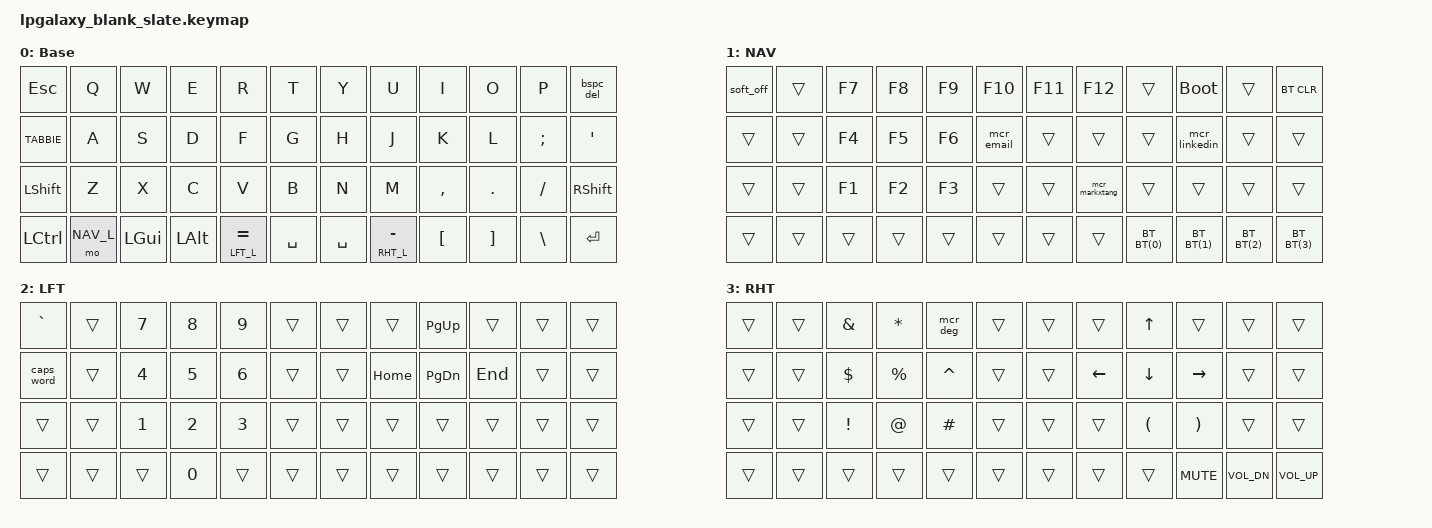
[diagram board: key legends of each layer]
/*
 * Copyright (c) 2022 Pete Johanson
 *
 * SPDX-License-Identifier: MIT
 */

#include <behaviors.dtsi>
#include <dt-bindings/zmk/keys.h>
#include <dt-bindings/zmk/bt.h>
#include <dt-bindings/zmk/outputs.h>

#define NAV_L 1
#define LFT_L 2
#define RHT_L 3

// Using layer taps on thumbs, having quick tap as well helps w/ repeating space/backspace
&lt { quick_tap_ms = <200>; };

// Only turn off it the key is held for 5 seconds or longer.
&soft_off {
    hold-time-ms = <5000>; 
};

#define BT(n) BT_SEL n

/ {
    chosen {
       zmk,physical-layout = &layout_ortho_4x12_all1u;
    };

    macros {
        mcr_deg: mcr_deg {
            compatible = "zmk,behavior-macro";
            #binding-cells = <0>;
            bindings =
                <&macro_press &kp LALT>,
                <&macro_tap &kp KP_N2 &kp KP_N4 &kp KP_N8>,
                <&macro_release &kp LALT>;
        };

        mcr_endash: mcr_endash {
            compatible = "zmk,behavior-macro";
            #binding-cells = <0>;
            bindings =
                <&macro_press &kp LALT>,
                <&macro_tap &kp KP_N0 &kp KP_N1 &kp KP_N5 &kp KP_N0>,
                <&macro_release &kp LALT>;
        };

        mcr_emdash: mcr_emdash {
            compatible = "zmk,behavior-macro";
            #binding-cells = <0>;
            bindings =
                <&macro_press &kp LALT>,
                <&macro_tap &kp KP_N0 &kp KP_N1 &kp KP_N5 &kp KP_N1>,
                <&macro_release &kp LALT>;
        };

        mcr_enspace: mcr_enspace {
            compatible = "zmk,behavior-macro";
            #binding-cells = <0>;
            bindings =
                <&macro_press &kp LALT>,
                <&macro_tap &kp KP_N8 &kp KP_N1 &kp KP_N9 &kp KP_N4>,
                <&macro_release &kp LALT>;
        };

        mcr_emspace: mcr_emspace {
            compatible = "zmk,behavior-macro";
            #binding-cells = <0>;
            bindings =
                <&macro_press &kp LALT>,
                <&macro_tap &kp KP_N8 &kp KP_N1 &kp KP_N9 &kp KP_N5>,
                <&macro_release &kp LALT>;
        };

        hold_cas: hold_cas {
            compatible = "zmk,behavior-macro";
            #binding-cells = <0>;
            bindings = <
                /* On press: hold Ctrl, Alt, Shift */
                &macro_press   &kp LCTRL &kp LALT &kp LSHIFT
                /* On release: release Ctrl, Alt, Shift */
                &macro_release &kp LCTRL &kp LALT &kp LSHIFT
            >;
        };

        win_snip: win_snip {
            compatible    = "zmk,behavior-macro";
            #binding-cells = <0>;
            wait-ms       = <10>;   /* small delay before tapping */
            tap-ms        = <10>;   /* ensure host registers the tap */
            bindings = <
                /* on press: hold Windows + Shift */
                &macro_press   &kp LGUI &kp LSHIFT
                /* tap the “S” key */
                &macro_tap     &kp S
                /* on release: release Windows + Shift */
                &macro_release &kp LGUI &kp LSHIFT
            >;
        };

        ctrl_alt_del: ctrl_alt_del {
            compatible    = "zmk,behavior-macro";
            #binding-cells = <0>;
            wait-ms       = <10>;   /* small delay before tapping */
            tap-ms        = <10>;   /* ensure host registers the tap */
            bindings = <
                /* on press: hold Windows + Shift */
                &macro_press   &kp LCTRL &kp LALT 
                /* tap the “S” key */
                &macro_tap     &kp DEL
                /* on release: release Windows + Shift */
                &macro_release &kp LCTRL &kp LALT
            >;
        };

        mcr_linkedin: mcr_linkedin {
            compatible = "zmk,behavior-macro";
            #binding-cells = <0>;
            bindings =
                <&macro_tap
                    &kp H &kp T &kp T &kp P &kp S &kp COLON &kp FSLH &kp FSLH
                    &kp W &kp W &kp W &kp DOT
                    &kp L &kp I &kp N &kp K &kp E &kp D &kp I &kp N &kp DOT
                    &kp C &kp O &kp M &kp FSLH
                    &kp I &kp N &kp FSLH
                    &kp M &kp A &kp R &kp K &kp X &kp T &kp A &kp N &kp G &kp FSLH
                >;
        };

        mcr_markxtang: mcr_markxtang {
            compatible = "zmk,behavior-macro";
            #binding-cells = <0>;
            bindings =
                <&macro_tap
                    &kp H &kp T &kp T &kp P &kp S &kp COLON &kp FSLH &kp FSLH
                    &kp M &kp A &kp R &kp K &kp X &kp T &kp A &kp N &kp G &kp DOT
                    &kp C &kp O &kp M &kp FSLH
                >;
        };

        mcr_email: mcr_email {
            compatible = "zmk,behavior-macro";
            #binding-cells = <0>;
            bindings =
                <&macro_tap
                    &kp M &kp A &kp R &kp K &kp X &kp T &kp A &kp N &kp G &kp AT
                    &kp G &kp M &kp A &kp I &kp L &kp DOT &kp C &kp O &kp M
                >;
        };

    };

    behaviors {
        bspc_del: backspace_delete {
            compatible = "zmk,behavior-mod-morph";
            #binding-cells = <0>;
            bindings = <&kp BACKSPACE>, <&kp DELETE>;
            mods = <(MOD_LSFT|MOD_RSFT)>;
        };
        
    };
    
    tap_dances {
    	TABBIE: tab_caps_word {
		compatible = "zmk,behavior-tap-dance";
		label = "TD_TABBIE";
		#binding-cells = <0>;
		tapping-term-ms = <250>;
		bindings = <&kp TAB>, <&caps_word>;
	};

    };

    keymap {
        compatible = "zmk,keymap";

        base_layer {
            label = "Base";
            bindings = <
&kp ESC		    &kp Q		    &kp W		    &kp E	    	&kp R	    	&kp T	    	&kp Y		    &kp U		    &kp I		    &kp O		    &kp P		    &bspc_del
&TABBIE	    	&kp A	        &kp S       	&kp D	    	&kp F	    	&kp G	    	&kp H		    &kp J		    &kp K		    &kp L		    &kp SEMI		&kp SQT
&kp LSHFT    	&kp Z		    &kp X	    	&kp C	    	&kp V		    &kp B	    	&kp N		    &kp M		    &kp COMMA	    &kp DOT		    &kp FSLH	    &kp RSHFT
&kp LCTRL   	&mo NAV_L       &kp LGUI    	&kp LALT    	&lt LFT_L EQUAL &kp SPACE       &kp SPACE       &lt RHT_L MINUS &kp LBKT        &kp RBKT   	    &kp BSLH		&kp RET
            >;
        };

        NAV_layer { 
            label = "NAV";
            bindings = <
&soft_off     	&trans        	&kp F7        	&kp F8        	&kp F9        	&kp F10       	&kp F11       	&kp F12       	&trans        	&bootloader   	&trans        	&bt BT_CLR    
&trans        	&trans        	&kp F4        	&kp F5        	&kp F6        	&mcr_email    	&trans        	&trans        	&trans        	&mcr_linkedin 	&trans        	&trans        
&trans        	&trans        	&kp F1        	&kp F2        	&kp F3        	&trans        	&trans        	&mcr_markxtang 	&trans        	&trans        	&trans        	&trans        
&trans        	&trans        	&trans        	&trans        	&trans        	&trans        	&trans        	&trans        	&bt BT(0)     	&bt BT(1)     	&bt BT(2)     	&bt BT(3)     
            >;
        };

        LFT_layer {
            label = "LFT";
            bindings = <
&kp GRAVE      	&trans        	&kp N7        	&kp N8        	&kp N9        	&trans        	&trans        	&trans        	&kp PG_UP      	&trans        	&trans        	&trans       
&caps_word     	&trans        	&kp N4        	&kp N5        	&kp N6        	&trans        	&trans        	&kp HOME       	&kp PG_DN      	&kp END      	&trans          &trans        
&trans        	&trans        	&kp N1        	&kp N2        	&kp N3        	&trans        	&trans        	&trans        	&trans        	&trans        	&trans      	&trans        
&trans        	&trans        	&trans        	&kp N0        	&trans         	&trans        	&trans          &trans         	&trans          &trans          &trans      	&trans     
            >;
        };

        RHT_layer {
            label = "RHT";
            bindings = <
&trans      	&trans        	&kp AMPS      	&kp STAR      	&mcr_deg	    &trans        	&trans        	&trans        	&kp UP       	&trans        	&trans        	&trans          
&trans       	&trans        	&kp DLLR      	&kp PRCNT     	&kp CARET       &trans        	&trans        	&kp LEFT       	&kp DOWN      	&kp RIGHT      	&trans          &trans        
&trans        	&trans        	&kp EXCL      	&kp AT        	&kp HASH        &trans        	&trans        	&trans        	&kp LPAR      	&kp RPAR      	&trans        	&trans    
&trans        	&trans        	&trans        	&trans        	&trans          &trans         	&trans        	&trans         	&trans      	&kp C_MUTE    	&kp C_VOL_DN  	&kp C_VOL_UP     
            >;
        };

    };
};
